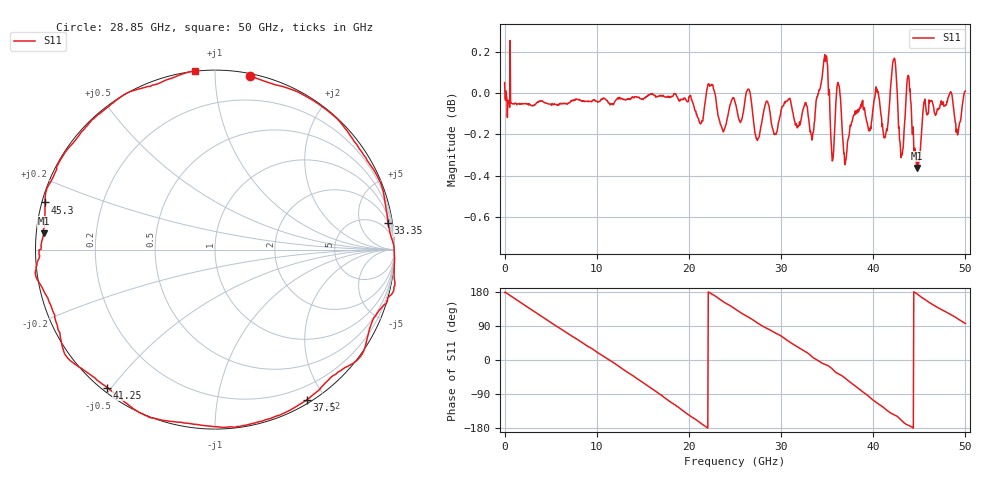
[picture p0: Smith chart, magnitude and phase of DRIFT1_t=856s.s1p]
!Created with skrf (http://scikit-rf.org).
# Hz S RI R 50.0
!freq ReS11 ImS11
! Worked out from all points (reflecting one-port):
!   1001 points, 300 kHz to 50 GHz, reference 50 ohm
!   lowest |S11| = -0.4 dB at 44.75 GHz (marker M1), VSWR 47.96, Z = 1.04 + j2.37 ohm
!   phase of S11 starts at 178 deg and turns -802 deg over the sweep
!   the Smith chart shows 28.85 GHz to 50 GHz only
!   S11 on the Smith chart (normalised r, x): 28.85 GHz: 0.02, +1.22; 33.35 GHz: 2, +13; 37.5 GHz: 0.04, -1.78; 41.25 GHz: 0.02, -0.49; 45.3 GHz: 0.01, +0.14; 50 GHz: -0.00, +0.89
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300000  -1.005 0.034
1.75029e9  -0.8739 0.4738
3.600278e9  -0.5202 0.8481
6.250262e9  0.1782 0.978
7.950252e9  0.5953 0.7993
9.800241e9  0.9087 0.4077
1.250022e10  0.9448 -0.3192
1.400022e10  0.7341 -0.6759
1.59002e10  0.2674 -0.9634
1.72502e10  -0.1278 -0.9903
1.875019e10  -0.5399 -0.8392
2.020018e10  -0.8549 -0.5162
2.200017e10  -1.003 -0.0247
2.500015e10  -0.7054 0.702
2.665014e10  -0.349 0.9371
2.885013e10  0.1967 0.9674
3.125011e10  0.7304 0.6679
3.33501e10  0.9631 0.1464
3.500009e10  0.9878 -0.2425
3.750008e10  0.51 -0.8395
3.910007e10  0.031 -0.9893
4.125005e10  -0.6001 -0.769
4.245005e10  -0.8447 -0.5606
4.375004e10  -0.9989 -0.1454
4.475003e10  -0.9548 0.0908
4.530003e10  -0.9467 0.2626
4.725002e10  -0.7046 0.7005
5e10  -0.1126 0.9949
